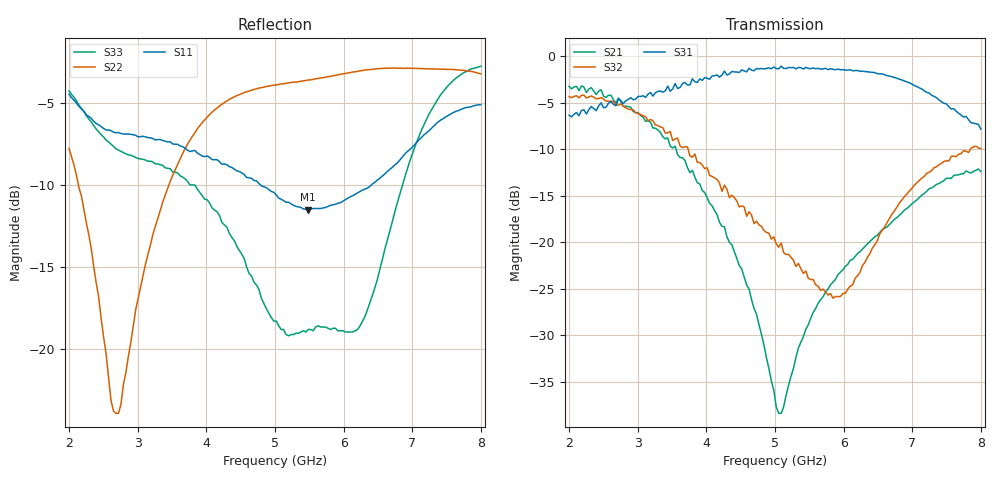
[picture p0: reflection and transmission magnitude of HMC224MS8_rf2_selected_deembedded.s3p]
!Hittite Microwave Corporation
!12 Elizabeth Drive
!Chelmsford, MA 01824
!Tel: 978-250-3343
!Fax: 978-250-3373
!Device: HMC224MS8, 5-6 GHz GaAs MMIC SPDT Switch in 8 lead plastic surface mount Mini Small Outline Package
!Misc: Port 1 = RFC, Port 2 = RF1, Port 3 =RF2, RF2 Selected, Vdd=+5V
# MHZ S MA R 50
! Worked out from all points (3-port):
!   168 points, 2 GHz to 8 GHz, reference 50 ohm
!   strongest paths, dB at 2 GHz, 3.509 GHz, 5.018 GHz, 6.527 GHz, 8 GHz:
!     S31: -6.3, -3.5, -1.3, -1.9, -7.8
!     S32: -4.3, -9.0, -20.2, -19.1, -9.9
!     S21: -3.2, -9.8, -37.7, -18.9, -12.4
!   lowest |S11| = -11.5 dB at 5.485 GHz (marker M1), VSWR 1.72, Z = 40.1 + j22.7 ohm
!   |S11| at or under -10 dB: 4.786 GHz to 6.406 GHz (1.62 GHz wide, 29 % of centre)
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2000  0.596 -148.3  0.679 20.2  0.475 59.0
      0.69 21.7  0.408 -129.6  0.599 28.8
      0.483 61.2  0.608 31.3  0.61 -128.1
2718.563  0.456 133.5  0.577 -10.0  0.557 61.0
          0.598 -8.0  0.064 -112.0  0.541 1.0
          0.591 63.6  0.547 3.0  0.403 157.8
3365.269  0.431 93.9  0.371 -33.6  0.646 64.4
          0.37 -33.0  0.281 -124.9  0.405 -17.3
          0.643 62.7  0.414 -18.9  0.362 107.8
4155.689  0.377 84.9  0.15 -44.4  0.781 58.3
          0.141 -47.7  0.541 175.9  0.213 -33.5
          0.795 59.9  0.218 -30.5  0.262 75.3
4766.467  0.319 87.8  0.042 -37.5  0.816 53.9
          0.036 -34.3  0.622 145.8  0.118 -31.2
          0.857 54.3  0.124 -30.5  0.152 36.5
5017.964  0.295 90.9  0.014 11.1  0.862 51.8
          0.013 12.1  0.636 134.3  0.099 -29.9
          0.861 50.9  0.098 -32.9  0.122 9.3
5485.03  0.266 99.4  0.036 112.9  0.87 47.9
         0.036 114.5  0.658 112.3  0.066 -38.4
         0.863 46.7  0.064 -40.1  0.115 -49.1
6023.952  0.285 100.3  0.074 135.0  0.849 41.9
          0.074 133.9  0.689 88.2  0.053 -92.2
          0.845 42.4  0.053 -91.0  0.113 -107.4
7029.94  0.418 84.2  0.164 149.7  0.7 28.9
         0.165 149.9  0.714 63.6  0.203 -166.7
         0.698 29.0  0.203 -166.6  0.408 131.9
8000  0.554 69.1  0.251 136.0  0.442 28.5
      0.24 137.1  0.687 53.6  0.356 161.7
      0.406 27.8  0.319 166.4  0.725 87.7
